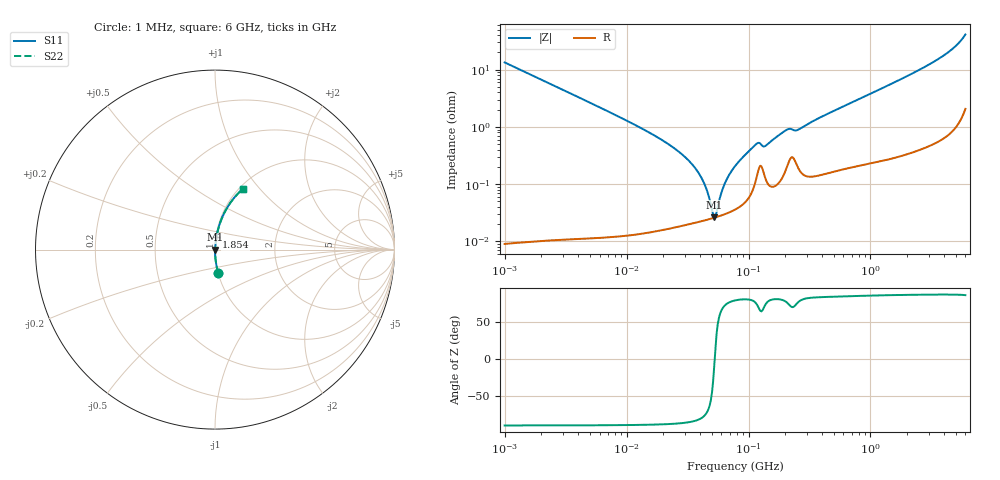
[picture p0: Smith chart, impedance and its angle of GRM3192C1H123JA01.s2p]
!Murata Part Number: GRM3192C1H123JA01
!These Parameters are Measured in Series Mode Connection
!Data Generated on Mar 30, 2021
!  o--ll--o
!Port1  Port2
!  o------o
!Operation Temp=25[degC], DC Bias Voltage=0[V]
!Freq. Start=1000[kHz] Stop=6[GHz] 401[Steps]
# Hz S RI R 50
!Freq.(Hz) S11(Real) S11(Imag) S21(Real) S21(Imag) S12(Real) S12(Imag) S22(Real) S22(Imag)
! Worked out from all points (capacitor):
!   401 points, 1 MHz to 6 GHz, reference 50 ohm
!   read as one part in series: C = 11.9 nF near 1.044 MHz
!   lowest |Z| = 26.2 mohm at 52.37 MHz (marker M1)
!   series resonance near 52.75 MHz, so ESL is about 770 pH
!   S11 on the Smith chart (normalised r, x): 1 MHz: 1.00, -0.27; 1.854 GHz: 1.01, +0.14; 6 GHz: 1.04, +0.82
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1000000  0.0178 -0.1318  0.9822 0.1318  0.9822 0.1318  0.0178 -0.1318
4293785  0.00107 -0.031  0.9989 0.031  0.9989 0.031  0.00107 -0.031
1.843659e7  0.000194 -0.00636  0.9998 0.00636  0.9998 0.00636  0.000194 -0.00636
2.787038e7  0.000197 -0.00345  0.9998 0.00345  0.9998 0.00345  0.000197 -0.00345
3.697709e7  0.000216 -0.00183  0.9998 0.00183  0.9998 0.00183  0.000216 -0.00183
4.400437e7  0.000234 -0.000922  0.9998 0.000922  0.9998 0.000922  0.000234 -0.000922
5.013812e7  0.000252 -0.000257  0.9997 0.000257  0.9997 0.000257  0.000252 -0.000257
5.236714e7  0.000259 -3.7e-05  0.9997 3.7e-05  0.9997 3.7e-05  0.000259 -3.7e-05
5.469524e7  0.000267 0.000184  0.9997 -0.000184  0.9997 -0.000184  0.000267 0.000184
5.966657e7  0.000284 0.000628  0.9997 -0.000628  0.9997 -0.000628  0.000284 0.000628
6.368941e7  0.000299 0.000965  0.9997 -0.000965  0.9997 -0.000965  0.000299 0.000965
7.745967e7  0.000363 0.00203  0.9996 -0.00203  0.9996 -0.00203  0.000363 0.00203
1.170949e8  0.0014 0.00493  0.9986 -0.00493  0.9986 -0.00493  0.0014 0.00493
1.363501e8  0.00135 0.0044  0.9987 -0.0044  0.9987 -0.0044  0.00135 0.0044
2.061188e8  0.00205 0.00868  0.998 -0.00868  0.998 -0.00868  0.00205 0.00868
2.506837e8  0.00215 0.0085  0.9978 -0.0085  0.9978 -0.0085  0.00215 0.0085
3.325952e8  0.0015 0.0123  0.9985 -0.0123  0.9985 -0.0123  0.0015 0.0123
1.428092e9  0.00565 0.054  0.9944 -0.054  0.9944 -0.054  0.00565 0.054
1.853962e9  0.00819 0.0706  0.9918 -0.0706  0.9918 -0.0706  0.00819 0.0706
3.883682e9  0.0339 0.1639  0.9661 -0.1639  0.9661 -0.1639  0.0339 0.1639
5.04183e9  0.0732 0.2423  0.9268 -0.2423  0.9268 -0.2423  0.0732 0.2423
6e9  0.1576 0.3402  0.8424 -0.3402  0.8424 -0.3402  0.1576 0.3402
